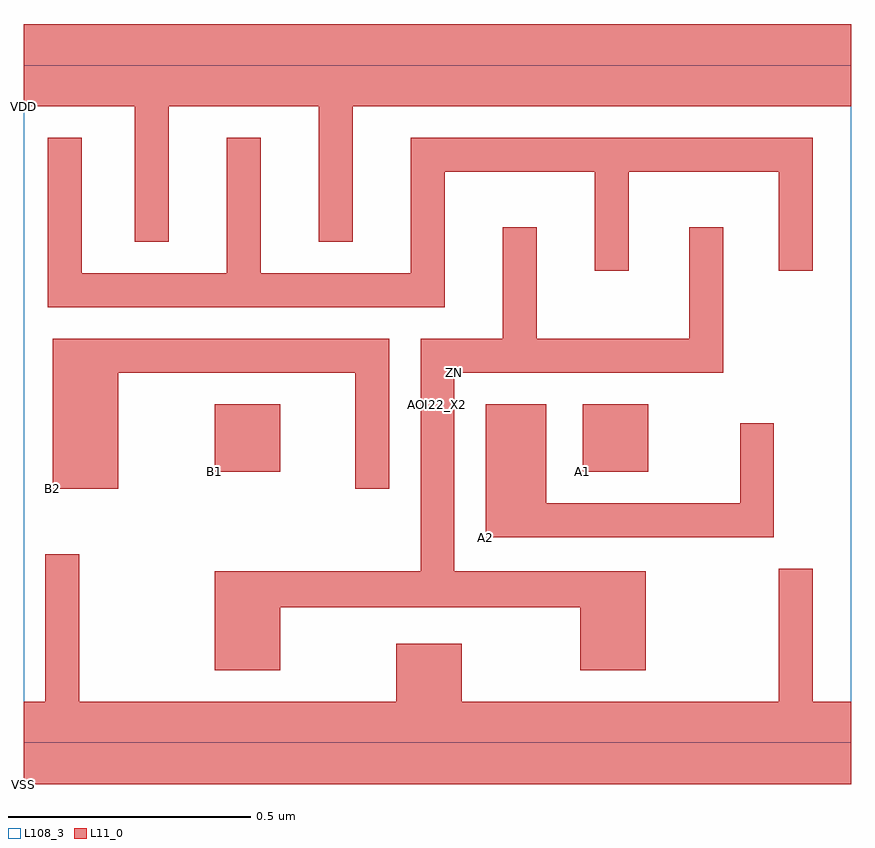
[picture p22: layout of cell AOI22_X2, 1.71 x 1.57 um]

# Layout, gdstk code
import gdstk
lib = gdstk.Library(unit=1e-6, precision=1e-09)
def R(c, l, rs):  # rectangles x0, y0, x1, y1
    for r in rs: c.add(gdstk.rectangle(r[:2], r[2:], *l))
def P(c, l, *ps):  # polygons
    for p in ps: c.add(gdstk.Polygon(p, *l))
L11_0 = (11, 0)
L108_3 = (108, 3)

aoi22_x2 = lib.new_cell('AOI22_X2')
R(aoi22_x2, L11_0, [(0.395,0.56,0.53,0.7), (1.155,0.56,1.29,0.7)])
P(aoi22_x2, L11_0, [(0.955,0.425),(1.55,0.425),(1.55,0.66),(1.48,0.66),(1.48,0.495),(1.08,0.495),(1.08,0.7),(0.955,0.7)],
  [(0.06,0.525),(0.195,0.525),(0.195,0.765),(0.685,0.765),(0.685,0.525),(0.755,0.525),(0.755,0.835),(0.06,0.835)],
  [(0.89,0.765),(1.445,0.765),(1.445,1.065),(1.375,1.065),(1.375,0.835),(1.06,0.835),(1.06,1.065),(0.99,1.065),(0.99,0.835),(0.82,0.835),(0.82,0.355),(0.395,0.355),(0.395,0.15),(0.53,0.15),(0.53,0.28),(1.15,0.28),(1.15,0.15),(1.285,0.15),(1.285,0.355),(0.89,0.355)],
  [(0,1.315),(0.23,1.315),(0.23,1.035),(0.3,1.035),(0.3,1.315),(0.61,1.315),(0.61,1.035),(0.68,1.035),(0.68,1.315),(1.63,1.315),(1.71,1.315),(1.71,1.485),(1.63,1.485),(0,1.485)],
  [(0,-0.085),(1.71,-0.085),(1.71,0.085),(1.63,0.085),(1.63,0.36),(1.56,0.36),(1.56,0.085),(0.905,0.085),(0.905,0.205),(0.77,0.205),(0.77,0.085),(0.115,0.085),(0.115,0.39),(0.045,0.39),(0.045,0.085),(0,0.085)],
  [(0.05,0.9),(0.87,0.9),(0.87,1.18),(1.18,1.18),(1.18,0.975),(1.25,0.975),(1.25,1.18),(1.56,1.18),(1.56,0.975),(1.63,0.975),(1.63,1.25),(0.8,1.25),(0.8,0.97),(0.49,0.97),(0.49,1.25),(0.42,1.25),(0.42,0.97),(0.12,0.97),(0.12,1.25),(0.05,1.25)])
R(aoi22_x2, L108_3, [(0,0,1.71,1.4)])
aoi22_x2.add(gdstk.Label('AOI22_X2', (0.855,0.7), layer=108, texttype=3))
aoi22_x2.add(gdstk.Label('A1', (1.155,0.56), layer=11, texttype=0))
aoi22_x2.add(gdstk.Label('A2', (0.955,0.425), layer=11, texttype=0))
aoi22_x2.add(gdstk.Label('B1', (0.395,0.56), layer=11, texttype=0))
aoi22_x2.add(gdstk.Label('B2', (0.06,0.525), layer=11, texttype=0))
aoi22_x2.add(gdstk.Label('ZN', (0.89,0.765), layer=11, texttype=0))
aoi22_x2.add(gdstk.Label('VDD', (0,1.315), layer=11, texttype=0))
aoi22_x2.add(gdstk.Label('VSS', (0,-0.085), layer=11, texttype=0))

lib.write_gds('AOI22_X2.gds')
